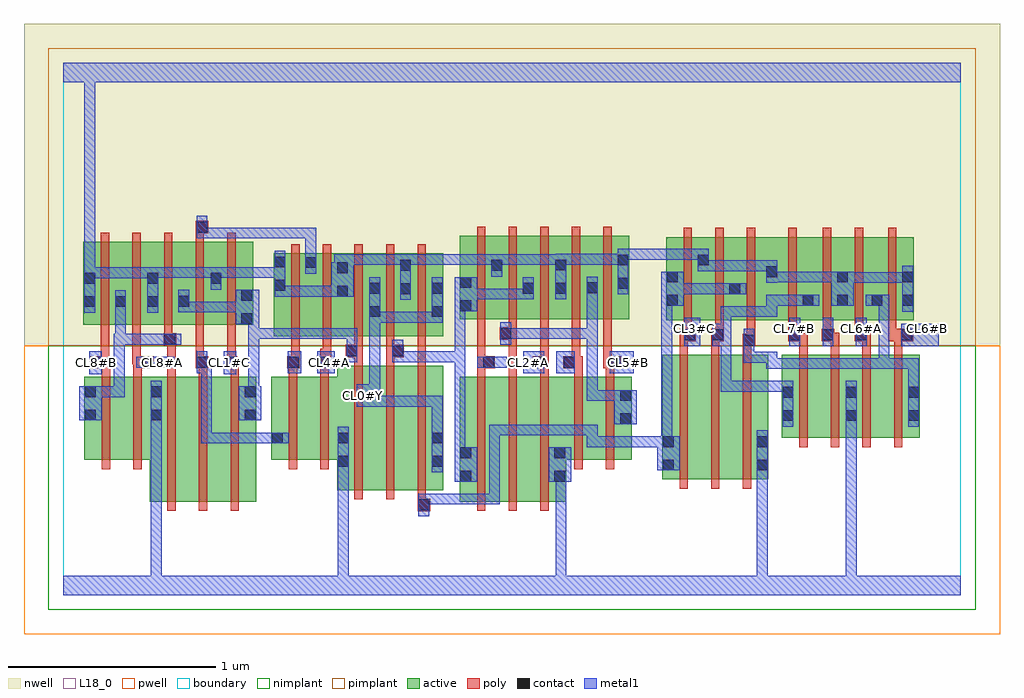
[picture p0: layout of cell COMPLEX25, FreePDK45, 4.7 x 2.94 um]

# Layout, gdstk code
import gdstk
lib = gdstk.Library(unit=1e-6, precision=1e-09)
def R(c, l, rs):  # rectangles x0, y0, x1, y1
    for r in rs: c.add(gdstk.rectangle(r[:2], r[2:], *l))
def A(c, l, x, y, w, h, nx, ny, dx, dy):  # array of equal rectangles
    R(c, l, [(x+i*dx, y+j*dy, x+i*dx+w, y+j*dy+h) for i in range(nx) for j in range(ny)])
active = (1, 0)
pwell = (2, 0)
nwell = (3, 0)
nimplant = (4, 0)
pimplant = (5, 0)
poly = (9, 0)
contact = (10, 0)
metal1 = (11, 0)
L18_0 = (18, 0)
boundary = (235, 0)

complex25 = lib.new_cell('COMPLEX25')
A(complex25, active, 0.098, 1.3, 0.208, 0.4, 3, 1, 0.304, 0)
R(complex25, active, [(0.418,0.45,0.598,1.05), (0.418,0.45,0.478,1.008), (0.598,0.45,0.75,1.05), (0.75,0.45,0.93,1.05), (1.908,0.45,2.088,1.05), (2.088,0.45,2.24,1.05), (2.24,0.45,2.42,1.05), (2.36,0.45,2.42,0.714), (1.318,0.504,1.498,1.104), (1.498,0.504,1.65,1.104), (1.65,0.504,1.83,1.104), (1.77,0.504,1.83,1.104), (1.908,0.514,1.968,1.05), (0.87,0.556,0.93,1.05), (2.882,0.556,2.942,1.156), (2.882,0.556,3.062,1.156), (3.062,0.556,3.214,1.156), (3.214,0.556,3.394,1.156), (3.334,0.556,3.394,1.156), (1.318,0.614,1.378,0.786), (0.102,0.65,0.162,1.05), (0.102,0.65,0.282,1.05), (0.282,0.65,0.478,1.05), (1.002,0.65,1.182,1.05), (1.182,0.65,1.378,1.05), (2.36,0.65,2.556,1.05), (2.556,0.65,2.736,1.05), (2.676,0.65,2.736,1.05), (1.002,0.684,1.062,1.05), (3.458,0.756,3.518,1.156), (3.458,0.756,3.638,1.156), (3.638,0.756,3.822,1.156), (3.762,0.756,3.942,1.156), (3.762,0.756,3.822,1.006), (3.942,0.756,4.122,1.156), (4.062,0.756,4.122,1.156), (1.014,1.244,1.074,1.644), (1.014,1.244,1.222,1.644), (1.162,1.244,1.222,1.644), (1.162,1.244,1.374,1.644), (1.314,1.244,1.374,1.644), (1.314,1.244,1.53,1.644), (1.47,1.244,1.53,1.644), (1.47,1.244,1.678,1.644), (1.618,1.244,1.678,1.644), (1.618,1.244,1.83,1.644), (1.77,1.244,1.83,1.644), (0.098,1.3,0.158,1.7), (0.246,1.3,0.462,1.7), (0.55,1.3,0.766,1.7), (0.854,1.3,0.914,1.644), (2.902,1.322,3.11,1.722), (2.902,1.322,2.962,1.644), (3.05,1.322,3.262,1.722), (3.202,1.322,3.44,1.722), (3.38,1.322,3.614,1.722), (3.554,1.322,3.78,1.722), (3.72,1.322,3.946,1.722), (3.886,1.322,4.094,1.722), (4.034,1.322,4.094,1.722), (1.908,1.328,2.116,1.728), (1.908,1.328,1.968,1.644), (2.056,1.328,2.268,1.728), (2.208,1.328,2.424,1.728), (2.364,1.328,2.424,1.728), (2.364,1.328,2.576,1.728), (2.516,1.328,2.724,1.728), (2.664,1.328,2.724,1.644), (0.402,1.376,0.462,1.7), (0.246,1.382,0.306,1.644), (3.72,1.382,3.78,1.722), (0.55,1.384,0.61,1.644), (3.554,1.388,3.614,1.644), (3.886,1.388,3.946,1.644), (0.706,1.412,0.766,1.644), (3.202,1.444,3.262,1.644), (2.208,1.446,2.268,1.644), (2.516,1.448,2.576,1.644), (3.38,1.45,3.44,1.644), (2.056,1.48,2.116,1.644), (3.05,1.5,3.11,1.644)])
R(complex25, pwell, [(-0.188,-0.188,4.508,1.2)])
R(complex25, nwell, [(-0.188,1.2,4.508,2.748)])
R(complex25, nimplant, [(-0.072,-0.072,4.392,1.2)])
R(complex25, pimplant, [(-0.072,1.2,4.392,2.632)])
A(complex25, poly, 0.502, 0.406, 0.04, 0.688, 3, 1, 0.152, 0)
A(complex25, poly, 1.992, 0.406, 0.04, 0.688, 3, 1, 0.152, 0)
A(complex25, poly, 1.402, 0.46, 0.04, 0.688, 3, 1, 0.152, 0)
A(complex25, poly, 2.966, 0.512, 0.04, 0.688, 3, 1, 0.152, 0)
A(complex25, poly, 3.542, 0.712, 0.04, 0.488, 4, 1, 0.152, 0)
A(complex25, poly, 2.296, 1.11, 0.04, 0.214, 3, 1, 0.152, 0)
A(complex25, poly, 3.542, 1.16, 0.04, 0.102, 4, 1, 0.152, 0)
A(complex25, poly, 1.402, 1.164, 0.04, 0.076, 3, 1, 0.152, 0)
A(complex25, poly, 1.098, 1.2, 0.04, 0.488, 5, 1, 0.152, 0)
A(complex25, poly, 3.49, 1.222, 0.06, 0.06, 3, 1, 0.16, 0)
A(complex25, poly, 3.51, 1.222, 0.04, 0.04, 3, 1, 0.16, 0)
A(complex25, poly, 0.182, 1.256, 0.04, 0.488, 5, 1, 0.152, 0)
A(complex25, poly, 2.986, 1.278, 0.04, 0.488, 3, 1, 0.152, 0)
A(complex25, poly, 1.992, 1.284, 0.04, 0.488, 5, 1, 0.152, 0)
R(complex25, poly, [(1.706,0.404,1.766,0.464), (1.706,0.424,1.746,0.5), (0.186,0.606,0.226,1.094), (0.338,0.606,0.378,1.094), (1.086,0.606,1.126,1.094), (1.238,0.606,1.278,1.094), (2.46,0.606,2.5,1.094), (2.612,0.606,2.652,1.094), (0.186,1.054,0.226,1.13), (0.338,1.054,0.378,1.13), (0.502,1.054,0.542,1.24), (0.654,1.054,0.694,1.13), (0.806,1.054,0.846,1.13), (1.086,1.054,1.126,1.13), (1.238,1.054,1.278,1.13), (1.992,1.054,2.032,1.13), (2.144,1.054,2.184,1.268), (2.296,1.054,2.336,1.13), (2.46,1.054,2.5,1.13), (2.612,1.054,2.652,1.13), (0.13,1.09,0.222,1.15), (0.182,1.09,0.222,1.13), (0.182,1.09,0.226,1.13), (0.338,1.09,0.436,1.15), (0.638,1.09,0.698,1.15), (0.778,1.09,0.838,1.15), (0.798,1.09,0.838,1.13), (0.798,1.09,0.846,1.13), (1.078,1.09,1.138,1.15), (1.218,1.09,1.278,1.15), (1.992,1.09,2.078,1.15), (2.26,1.09,2.336,1.15), (2.406,1.09,2.5,1.15), (2.6,1.09,2.686,1.15), (2.612,1.09,2.652,1.13), (2.612,1.09,2.652,1.13), (1.402,1.108,1.442,1.184), (1.554,1.108,1.594,1.184), (1.706,1.108,1.746,1.204), (0.182,1.11,0.222,1.296), (0.334,1.11,0.374,1.296), (0.334,1.11,0.378,1.15), (0.338,1.11,0.378,1.15), (0.638,1.11,0.678,1.15), (0.638,1.11,0.678,1.15), (0.638,1.11,0.678,1.296), (0.79,1.11,0.83,1.296), (1.098,1.11,1.138,1.15), (1.098,1.11,1.138,1.15), (1.098,1.11,1.138,1.24), (1.238,1.11,1.278,1.184), (1.992,1.11,2.032,1.15), (1.992,1.11,2.032,1.15), (1.992,1.11,2.032,1.324), (2.296,1.11,2.336,1.15), (2.296,1.11,2.336,1.15), (2.448,1.11,2.488,1.15), (2.448,1.11,2.488,1.15), (1.238,1.144,1.29,1.184), (1.25,1.144,1.29,1.24), (1.36,1.144,1.442,1.204), (1.402,1.144,1.442,1.184), (1.402,1.144,1.442,1.184), (1.554,1.144,1.594,1.184), (1.554,1.144,1.594,1.184), (1.554,1.144,1.64,1.204), (2.966,1.16,3.006,1.262), (3.118,1.16,3.158,1.262), (3.27,1.16,3.31,1.236), (1.706,1.164,1.746,1.204), (1.706,1.164,1.746,1.204), (1.706,1.164,1.746,1.204), (3.27,1.196,3.33,1.256), (0.484,1.2,0.544,1.26), (0.502,1.2,0.542,1.24), (0.502,1.2,0.542,1.24), (3.29,1.216,3.33,1.256), (3.29,1.216,3.33,1.256), (3.29,1.216,3.33,1.318), (0.486,1.22,0.526,1.296), (2.966,1.222,3.044,1.282), (3.118,1.222,3.18,1.282), (3.51,1.222,3.582,1.262), (3.67,1.222,3.734,1.262), (3.83,1.222,3.886,1.262), (3.97,1.222,4.09,1.282), (3.998,1.222,4.038,1.262), (3.998,1.222,4.038,1.262), (2.1,1.228,2.184,1.288), (2.144,1.228,2.184,1.268), (2.144,1.228,2.184,1.268), (2.986,1.242,3.026,1.318), (2.986,1.242,3.026,1.282), (2.986,1.242,3.026,1.282), (3.138,1.242,3.178,1.318), (3.138,1.242,3.178,1.282), (3.138,1.242,3.178,1.282), (3.49,1.242,3.53,1.318), (3.656,1.242,3.696,1.318), (3.81,1.242,3.85,1.318), (3.97,1.242,4.01,1.318), (2.144,1.248,2.184,1.324), (3.49,1.278,3.53,1.766), (3.656,1.278,3.696,1.766), (3.81,1.278,3.85,1.766), (3.97,1.278,4.01,1.766), (0.638,1.704,0.678,1.78), (0.638,1.74,0.698,1.8)])
A(complex25, contact, 3.494, 1.226, 0.052, 0.052, 3, 1, 0.16, 0)
A(complex25, contact, 3.558, 1.392, 0.052, 0.052, 3, 1, 0.166, 0)
A(complex25, contact, 0.102, 1.498, 0.052, 0.052, 3, 1, 0.304, 0)
R(complex25, contact, [(1.71,0.408,1.762,0.46), (1.912,0.546,1.964,0.598), (2.364,0.546,2.416,0.598), (2.886,0.6,2.938,0.652), (3.338,0.6,3.39,0.652), (1.322,0.618,1.374,0.67), (1.774,0.618,1.826,0.67), (1.912,0.658,1.964,0.71), (2.364,0.658,2.416,0.71), (2.886,0.712,2.938,0.764), (3.338,0.712,3.39,0.764), (1.006,0.73,1.058,0.782), (1.322,0.73,1.374,0.782), (1.774,0.73,1.826,0.782), (2.68,0.822,2.732,0.874), (3.462,0.838,3.514,0.89), (3.766,0.838,3.818,0.89), (4.066,0.838,4.118,0.89), (0.106,0.84,0.158,0.892), (0.422,0.84,0.474,0.892), (0.874,0.84,0.926,0.892), (2.68,0.934,2.732,0.986), (3.462,0.95,3.514,1.002), (3.766,0.95,3.818,1.002), (4.066,0.95,4.118,1.002), (0.106,0.952,0.158,1.004), (0.422,0.952,0.474,1.004), (0.874,0.952,0.926,1.004), (0.134,1.094,0.186,1.146), (0.38,1.094,0.432,1.146), (0.642,1.094,0.694,1.146), (0.782,1.094,0.834,1.146), (1.082,1.094,1.134,1.146), (1.222,1.094,1.274,1.146), (2.022,1.094,2.074,1.146), (2.264,1.094,2.316,1.146), (2.41,1.094,2.462,1.146), (2.63,1.094,2.682,1.146), (1.364,1.148,1.416,1.2), (1.584,1.148,1.636,1.2), (3.274,1.2,3.326,1.252), (0.488,1.204,0.54,1.256), (2.988,1.226,3.04,1.278), (3.124,1.226,3.176,1.278), (4.034,1.226,4.086,1.278), (2.104,1.232,2.156,1.284), (0.858,1.304,0.91,1.356), (1.474,1.338,1.526,1.39), (1.774,1.338,1.826,1.39), (1.912,1.366,1.964,1.418), (0.102,1.386,0.154,1.438), (0.25,1.386,0.302,1.438), (0.406,1.386,0.458,1.438), (0.554,1.388,0.606,1.44), (2.906,1.392,2.958,1.444), (4.038,1.392,4.09,1.444), (0.858,1.416,0.91,1.468), (1.318,1.436,1.37,1.488), (1.622,1.448,1.674,1.5), (3.206,1.448,3.258,1.5), (1.474,1.45,1.526,1.502), (1.774,1.45,1.826,1.502), (2.212,1.45,2.264,1.502), (2.368,1.45,2.42,1.502), (2.52,1.452,2.572,1.504), (1.018,1.464,1.07,1.516), (2.668,1.474,2.72,1.526), (1.912,1.478,1.964,1.53), (2.906,1.504,2.958,1.556), (3.724,1.504,3.776,1.556), (4.038,1.504,4.09,1.556), (3.384,1.53,3.436,1.582), (1.318,1.548,1.37,1.6), (1.622,1.56,1.674,1.612), (2.06,1.56,2.112,1.612), (2.368,1.562,2.42,1.614), (1.166,1.574,1.218,1.626), (1.018,1.576,1.07,1.628), (2.668,1.586,2.72,1.638), (3.054,1.586,3.106,1.638), (0.642,1.744,0.694,1.796)])
A(complex25, metal1, 3.494, 1.198, 0.052, 0.136, 3, 1, 0.16, 0)
R(complex25, metal1, [(0,0,4.32,0.092), (0.422,0.04,0.474,0.864), (1.322,0.04,1.374,0.092), (1.322,0.04,1.374,0.092), (1.322,0.04,1.374,0.092), (1.322,0.04,1.374,0.092), (1.322,0.04,1.374,0.092), (1.322,0.04,1.374,0.092), (1.322,0.04,1.374,0.092), (1.322,0.04,1.374,0.092), (1.322,0.04,1.374,0.642), (2.37,0.04,2.422,0.598), (3.338,0.04,3.39,0.624), (3.766,0.04,3.818,0.092), (3.766,0.04,3.818,0.092), (3.766,0.04,3.818,0.092), (3.766,0.04,3.818,0.092), (3.766,0.04,3.818,0.862), (1.71,0.38,1.762,0.488), (1.71,0.436,1.826,0.488), (1.774,0.436,1.826,0.488), (1.774,0.436,1.826,0.488), (1.774,0.436,1.826,0.488), (1.774,0.436,1.826,0.488), (1.774,0.436,1.826,0.488), (1.774,0.436,1.936,0.488), (1.884,0.436,1.936,0.488), (1.884,0.436,1.936,0.488), (1.884,0.436,1.936,0.488), (1.884,0.436,1.936,0.488), (1.884,0.436,1.936,0.488), (1.884,0.436,2.102,0.488), (2.05,0.436,2.102,0.488), (2.05,0.436,2.102,0.488), (2.05,0.436,2.102,0.488), (2.05,0.436,2.102,0.488), (2.05,0.436,2.102,0.488), (2.05,0.436,2.102,0.82), (1.884,0.546,1.992,0.71), (2.336,0.546,2.444,0.71), (2.37,0.546,2.422,0.598), (2.37,0.546,2.422,0.598), (2.37,0.546,2.422,0.598), (2.37,0.546,2.422,0.598), (2.37,0.546,2.422,0.598), (2.37,0.546,2.422,0.598), (2.37,0.546,2.422,0.598), (2.37,0.546,2.422,0.598), (3.338,0.572,3.39,0.624), (3.338,0.572,3.39,0.624), (3.338,0.572,3.39,0.624), (3.338,0.572,3.39,0.624), (3.338,0.572,3.39,0.624), (3.338,0.572,3.39,0.624), (3.338,0.572,3.39,0.624), (3.338,0.572,3.39,0.624), (3.338,0.572,3.39,0.792), (1.322,0.59,1.374,0.81), (1.774,0.59,1.826,0.81), (2.858,0.6,2.966,0.764), (1.884,0.658,1.936,1.172), (2.52,0.712,2.572,0.764), (2.52,0.712,2.572,0.764), (2.52,0.712,2.572,0.764), (2.52,0.712,2.572,0.82), (2.52,0.712,2.766,0.764), (2.714,0.712,2.766,0.764), (2.714,0.712,2.91,0.764), (2.878,0.712,2.93,1.444), (0.664,0.73,0.716,0.782), (0.664,0.73,0.716,0.782), (0.664,0.73,0.716,0.782), (0.664,0.73,0.92,0.782), (0.664,0.73,0.716,1.118), (0.868,0.73,0.92,0.782), (0.868,0.73,0.92,0.782), (0.868,0.73,0.92,0.782), (0.868,0.73,1.03,0.782), (0.978,0.73,1.086,0.782), (1.774,0.758,1.826,0.958), (2.05,0.768,2.102,0.82), (2.05,0.768,2.102,0.82), (2.05,0.768,2.102,0.82), (2.05,0.768,2.266,0.82), (2.214,0.768,2.266,0.82), (2.214,0.768,2.266,0.82), (2.214,0.768,2.266,0.82), (2.214,0.768,2.462,0.82), (2.41,0.768,2.462,0.82), (2.41,0.768,2.462,0.82), (2.41,0.768,2.462,0.82), (2.41,0.768,2.572,0.82), (2.52,0.768,2.572,0.82), (3.462,0.81,3.514,1.03), (3.766,0.81,3.818,0.862), (3.766,0.81,3.818,0.862), (3.766,0.81,3.818,0.862), (3.766,0.81,3.818,0.862), (3.766,0.81,3.818,0.862), (3.766,0.81,3.818,0.862), (3.766,0.81,3.818,0.862), (3.766,0.81,3.818,0.862), (3.766,0.81,3.818,1.03), (4.066,0.81,4.118,1.03), (0.422,0.812,0.474,0.864), (0.422,0.812,0.474,0.864), (0.422,0.812,0.474,0.864), (0.422,0.812,0.474,0.864), (0.422,0.812,0.474,0.864), (0.422,0.812,0.474,0.864), (0.422,0.812,0.474,0.864), (0.422,0.812,0.474,0.864), (0.422,0.812,0.474,1.032), (2.652,0.822,2.76,0.986), (0.078,0.84,0.186,1.004), (0.846,0.84,0.954,1.004), (1.414,0.906,1.526,1.014), (1.474,0.906,1.652,0.958), (1.6,0.906,1.652,0.958), (1.6,0.906,1.652,0.958), (1.6,0.906,1.652,0.958), (1.6,0.906,1.826,0.958), (1.774,0.906,1.826,0.958), (1.774,0.906,1.826,0.958), (1.774,0.906,1.826,0.958), (2.52,0.934,2.572,0.986), (2.52,0.934,2.572,0.986), (2.52,0.934,2.572,0.986), (2.52,0.934,2.704,0.986), (2.52,0.934,2.572,1.284), (2.652,0.934,2.704,0.986), (2.652,0.934,2.704,0.986), (0.134,0.952,0.186,1.004), (0.134,0.952,0.186,1.004), (0.134,0.952,0.186,1.004), (0.134,0.952,0.186,1.004), (0.134,0.952,0.296,1.004), (0.244,0.952,0.296,1.004), (0.244,0.952,0.296,1.256), (0.892,0.952,0.944,1.284), (1.474,0.962,1.526,1.362), (3.164,0.978,3.216,1.03), (3.164,0.978,3.326,1.03), (3.164,0.978,3.216,1.306), (3.274,0.978,3.326,1.03), (3.274,0.978,3.326,1.03), (3.274,0.978,3.326,1.03), (3.274,0.978,3.514,1.03), (4.066,0.978,4.118,1.14), (0.126,1.062,0.186,1.174), (0.774,1.062,0.834,1.174), (0.642,1.066,0.694,1.174), (0.642,1.066,0.716,1.118), (0.664,1.066,0.716,1.118), (1.082,1.066,1.146,1.174), (1.222,1.066,1.306,1.174), (2.214,1.066,2.316,1.174), (2.374,1.066,2.462,1.174), (2.63,1.066,2.746,1.174), (3.384,1.088,3.596,1.14), (3.384,1.088,3.436,1.17), (3.544,1.088,3.596,1.14), (3.544,1.088,3.596,1.14), (3.544,1.088,3.596,1.14), (3.544,1.088,3.756,1.14), (3.704,1.088,3.756,1.14), (3.704,1.088,3.756,1.14), (3.704,1.088,3.756,1.14), (3.704,1.088,3.976,1.14), (3.924,1.088,3.976,1.14), (3.924,1.088,3.976,1.14), (3.924,1.088,3.976,1.14), (3.924,1.088,4.118,1.14), (3.924,1.088,3.976,1.444), (4.066,1.088,4.118,1.14), (4.066,1.088,4.118,1.14), (4.066,1.088,4.118,1.14), (0.352,1.094,0.534,1.146), (1.994,1.094,2.134,1.146), (3.274,1.118,3.326,1.224), (3.274,1.118,3.436,1.17), (1.364,1.12,1.416,1.284), (1.584,1.12,1.636,1.172), (1.584,1.12,1.636,1.172), (1.584,1.12,1.636,1.228), (1.584,1.12,1.826,1.172), (1.774,1.12,1.826,1.172), (1.774,1.12,1.826,1.172), (1.774,1.12,1.826,1.172), (1.774,1.12,1.936,1.172), (1.884,1.12,1.936,1.172), (1.884,1.12,1.936,1.172), (1.884,1.12,1.936,1.172), (1.884,1.12,1.936,1.418), (3.274,1.172,3.326,1.224), (3.274,1.172,3.326,1.28), (2.988,1.198,3.066,1.334), (3.124,1.198,3.176,1.306), (4.034,1.198,4.214,1.306), (0.244,1.204,0.302,1.256), (0.25,1.204,0.302,1.256), (0.25,1.204,0.302,1.256), (0.25,1.204,0.458,1.256), (0.25,1.204,0.302,1.41), (0.406,1.204,0.458,1.256), (0.406,1.204,0.512,1.256), (0.46,1.204,0.568,1.256), (2.104,1.204,2.156,1.312), (0.892,1.232,0.944,1.284), (0.892,1.232,0.944,1.284), (0.892,1.232,0.944,1.284), (0.892,1.232,1.084,1.284), (0.892,1.232,0.944,1.356), (1.032,1.232,1.084,1.284), (1.032,1.232,1.084,1.284), (1.032,1.232,1.084,1.284), (1.032,1.232,1.196,1.284), (1.144,1.232,1.196,1.284), (1.144,1.232,1.306,1.284), (1.254,1.232,1.306,1.284), (1.254,1.232,1.306,1.284), (1.254,1.232,1.306,1.284), (1.254,1.232,1.416,1.284), (2.104,1.232,2.278,1.284), (2.226,1.232,2.278,1.284), (2.226,1.232,2.278,1.284), (2.226,1.232,2.278,1.284), (2.226,1.232,2.462,1.284), (2.41,1.232,2.462,1.284), (2.41,1.232,2.462,1.284), (2.41,1.232,2.462,1.284), (2.41,1.232,2.572,1.284), (2.52,1.232,2.572,1.284), (2.52,1.232,2.572,1.476), (3.124,1.254,3.216,1.306), (3.164,1.254,3.216,1.306), (3.164,1.254,3.216,1.39), (0.83,1.304,0.944,1.468), (1.474,1.31,1.526,1.362), (1.474,1.31,1.526,1.362), (1.474,1.31,1.526,1.53), (1.474,1.31,1.636,1.362), (1.584,1.31,1.636,1.362), (1.584,1.31,1.636,1.362), (1.584,1.31,1.636,1.362), (1.584,1.31,1.826,1.362), (1.774,1.31,1.826,1.362), (1.774,1.31,1.826,1.362), (1.774,1.31,1.826,1.53), (3.164,1.338,3.216,1.39), (3.164,1.338,3.326,1.39), (3.274,1.338,3.326,1.39), (3.274,1.338,3.326,1.39), (3.274,1.338,3.326,1.39), (3.274,1.338,3.436,1.39), (3.384,1.338,3.436,1.39), (3.384,1.338,3.436,1.444), (0.102,1.358,0.154,1.578), (0.25,1.358,0.302,1.466), (0.406,1.358,0.458,1.578), (0.554,1.36,0.716,1.412), (0.554,1.36,0.606,1.468), (0.664,1.36,0.716,1.412), (0.664,1.36,0.716,1.412), (0.664,1.36,0.716,1.412), (0.664,1.36,0.882,1.412), (0.83,1.36,0.882,1.412), (0.83,1.36,0.882,1.412), (4.038,1.364,4.09,1.584), (1.884,1.366,1.992,1.53), (2.878,1.392,2.93,1.444), (2.878,1.392,2.93,1.444), (2.878,1.392,2.93,1.444), (2.878,1.392,2.93,1.444), (2.878,1.392,2.93,1.444), (2.878,1.392,2.93,1.444), (2.878,1.392,2.986,1.556), (3.384,1.392,3.436,1.444), (3.384,1.392,3.582,1.444), (3.53,1.392,3.582,1.444), (3.53,1.392,3.582,1.444), (3.53,1.392,3.638,1.444), (3.696,1.392,3.804,1.556), (3.862,1.392,3.976,1.444), (3.924,1.392,3.976,1.444), (3.924,1.392,3.976,1.444), (1.622,1.42,1.674,1.64), (1.94,1.422,1.992,1.474), (1.94,1.422,1.992,1.474), (1.94,1.422,2.154,1.474), (2.102,1.422,2.154,1.474), (2.102,1.422,2.154,1.474), (2.102,1.422,2.154,1.474), (2.102,1.422,2.264,1.474), (2.212,1.422,2.264,1.53), (2.368,1.422,2.42,1.642), (2.52,1.424,2.572,1.532), (1.018,1.436,1.07,1.488), (1.018,1.436,1.07,1.488), (1.018,1.436,1.07,1.488), (1.018,1.436,1.07,1.488), (1.018,1.436,1.07,1.488), (1.018,1.436,1.07,1.488), (1.018,1.436,1.07,1.488), (1.018,1.436,1.07,1.488), (1.018,1.436,1.07,1.656), (1.018,1.436,1.196,1.488), (1.144,1.436,1.196,1.488), (1.144,1.436,1.196,1.488), (1.144,1.436,1.196,1.488), (1.144,1.436,1.342,1.488), (1.29,1.436,1.398,1.6), (2.668,1.446,2.72,1.666), (2.934,1.448,2.986,1.5), (2.934,1.448,2.986,1.5), (2.934,1.448,3.106,1.5), (3.054,1.448,3.106,1.5), (3.054,1.448,3.106,1.5), (3.054,1.448,3.106,1.5), (3.054,1.448,3.23,1.5), (3.178,1.448,3.286,1.5), (0.71,1.47,0.762,1.578), (3.384,1.502,3.436,1.61), (3.752,1.502,3.976,1.554), (3.924,1.502,3.976,1.554), (3.924,1.502,3.976,1.554), (3.924,1.502,3.976,1.554), (3.924,1.502,4.09,1.554), (4.038,1.502,4.09,1.554), (4.038,1.502,4.09,1.554), (3.384,1.504,3.436,1.556), (3.384,1.504,3.436,1.556), (3.384,1.504,3.596,1.556), (3.544,1.504,3.596,1.556), (3.544,1.504,3.596,1.556), (3.544,1.504,3.596,1.556), (3.544,1.504,3.748,1.556), (3.696,1.504,3.748,1.556), (3.696,1.504,3.748,1.556), (0.102,1.524,0.154,1.576), (0.102,1.524,0.154,1.576), (0.102,1.524,0.348,1.576), (0.296,1.524,0.348,1.576), (0.296,1.524,0.348,1.576), (0.296,1.524,0.348,1.576), (0.296,1.524,0.458,1.576), (0.102,1.526,0.154,1.578), (0.102,1.526,0.154,1.578), (0.102,1.526,0.154,1.578), (0.102,1.526,0.154,1.578), (0.102,1.526,0.154,1.578), (0.102,1.526,0.154,1.578), (0.102,1.526,0.154,1.578), (0.102,1.526,0.154,1.578), (0.102,1.526,0.154,1.578), (0.102,1.526,0.154,1.578), (0.102,1.526,0.154,1.578), (0.102,1.526,0.154,1.578), (0.102,1.526,0.154,1.578), (0.102,1.526,0.154,1.578), (0.102,1.526,0.154,2.52), (0.406,1.526,0.458,1.578), (0.406,1.526,0.458,1.578), (0.406,1.526,0.568,1.578), (0.516,1.526,0.568,1.578), (0.516,1.526,0.568,1.578), (0.516,1.526,0.568,1.578), (0.516,1.526,0.762,1.578), (0.71,1.526,0.906,1.578), (0.854,1.526,0.906,1.578), (0.854,1.526,0.906,1.578), (0.854,1.526,0.906,1.578), (0.854,1.526,1.07,1.578), (2.06,1.532,2.112,1.64), (1.166,1.546,1.218,1.654), (1.304,1.548,1.356,1.64), (3.054,1.558,3.106,1.61), (3.054,1.558,3.106,1.61), (3.054,1.558,3.216,1.61), (3.054,1.558,3.106,1.666), (3.164,1.558,3.216,1.61), (3.164,1.558,3.286,1.61), (3.234,1.558,3.286,1.61), (3.234,1.558,3.436,1.61), (1.304,1.588,1.356,1.64), (1.304,1.588,1.526,1.64), (1.474,1.588,1.526,1.64), (1.474,1.588,1.526,1.64), (1.474,1.588,1.526,1.64), (1.474,1.588,1.636,1.64), (1.584,1.588,1.636,1.64), (1.584,1.588,1.674,1.64), (1.622,1.588,1.826,1.64), (1.774,1.588,1.826,1.64), (1.774,1.588,1.826,1.64), (1.774,1.588,1.826,1.64), (1.774,1.588,1.936,1.64), (1.884,1.588,1.936,1.64), (1.884,1.588,1.936,1.64), (1.884,1.588,1.936,1.64), (1.884,1.588,2.112,1.64), (2.06,1.588,2.112,1.64), (2.06,1.588,2.112,1.64), (2.06,1.588,2.278,1.64), (2.226,1.588,2.278,1.64), (2.226,1.588,2.278,1.64), (2.226,1.588,2.278,1.64), (2.226,1.588,2.42,1.64), (2.368,1.59,2.42,1.642), (2.368,1.59,2.42,1.642), (2.368,1.59,2.594,1.642), (2.542,1.59,2.594,1.642), (2.542,1.59,2.72,1.642), (2.668,1.59,2.72,1.642), (2.668,1.59,2.72,1.642), (1.166,1.602,1.218,1.768), (2.668,1.614,2.876,1.666), (2.824,1.614,2.876,1.666), (2.824,1.614,2.876,1.666), (2.824,1.614,2.876,1.666), (2.824,1.614,3.106,1.666), (0.642,1.716,0.694,1.824), (0.642,1.716,0.716,1.768), (0.664,1.716,0.716,1.768), (0.664,1.716,0.92,1.768), (0.868,1.716,0.92,1.768), (0.868,1.716,0.92,1.768), (0.868,1.716,0.92,1.768), (0.868,1.716,1.054,1.768), (1.002,1.716,1.054,1.768), (1.002,1.716,1.054,1.768), (1.002,1.716,1.054,1.768), (1.002,1.716,1.218,1.768), (1.166,1.716,1.218,1.768), (0,2.468,4.32,2.56), (0.102,2.468,0.154,2.52), (0.102,2.468,0.154,2.52)])
A(complex25, L18_0, 0.134, 1.094, 0.052, 0.052, 4, 1, 0.32, 0)
A(complex25, L18_0, 2.054, 1.094, 0.052, 0.052, 3, 1, 0.16, 0)
A(complex25, L18_0, 3.494, 1.198, 0.052, 0.136, 3, 1, 0.16, 0)
A(complex25, L18_0, 3.494, 1.254, 0.052, 0.052, 3, 1, 0.16, 0)
R(complex25, L18_0, [(0,0,4.32,0.092), (0.422,0.04,0.474,0.864), (1.322,0.04,1.374,0.092), (1.322,0.04,1.374,0.092), (1.322,0.04,1.374,0.092), (1.322,0.04,1.374,0.092), (1.322,0.04,1.374,0.092), (1.322,0.04,1.374,0.092), (1.322,0.04,1.374,0.092), (1.322,0.04,1.374,0.092), (1.322,0.04,1.374,0.642), (2.37,0.04,2.422,0.598), (3.338,0.04,3.39,0.624), (3.766,0.04,3.818,0.092), (3.766,0.04,3.818,0.092), (3.766,0.04,3.818,0.092), (3.766,0.04,3.818,0.092), (3.766,0.04,3.818,0.862), (2.336,0.546,2.444,0.71), (2.37,0.546,2.422,0.598), (2.37,0.546,2.422,0.598), (2.37,0.546,2.422,0.598), (2.37,0.546,2.422,0.598), (2.37,0.546,2.422,0.598), (2.37,0.546,2.422,0.598), (2.37,0.546,2.422,0.598), (2.37,0.546,2.422,0.598), (3.338,0.572,3.39,0.792), (3.338,0.572,3.39,0.624), (3.338,0.572,3.39,0.624), (3.338,0.572,3.39,0.624), (3.338,0.572,3.39,0.624), (3.338,0.572,3.39,0.624), (3.338,0.572,3.39,0.624), (3.338,0.572,3.39,0.624), (3.338,0.572,3.39,0.624), (1.322,0.59,1.374,0.81), (1.774,0.59,1.826,0.81), (1.774,0.758,1.826,0.958), (3.766,0.81,3.818,1.03), (3.766,0.81,3.818,0.862), (3.766,0.81,3.818,0.862), (3.766,0.81,3.818,0.862), (3.766,0.81,3.818,0.862), (3.766,0.81,3.818,0.862), (3.766,0.81,3.818,0.862), (3.766,0.81,3.818,0.862), (3.766,0.81,3.818,0.862), (0.422,0.812,0.474,1.032), (0.422,0.812,0.474,0.864), (0.422,0.812,0.474,0.864), (0.422,0.812,0.474,0.864), (0.422,0.812,0.474,0.864), (0.422,0.812,0.474,0.864), (0.422,0.812,0.474,0.864), (0.422,0.812,0.474,0.864), (0.422,0.812,0.474,0.864), (1.414,0.906,1.526,1.014), (1.474,0.906,1.652,0.958), (1.6,0.906,1.652,0.958), (1.6,0.906,1.652,0.958), (1.6,0.906,1.652,0.958), (1.6,0.906,1.826,0.958), (1.774,0.906,1.826,0.958), (1.774,0.906,1.826,0.958), (1.774,0.906,1.826,0.958), (1.414,0.934,1.466,0.986), (1.474,0.962,1.526,1.362), (0.126,1.062,0.186,1.174), (0.774,1.062,0.834,1.174), (1.082,1.066,1.146,1.174), (1.222,1.066,1.306,1.174), (2.214,1.066,2.316,1.174), (2.374,1.066,2.462,1.174), (2.63,1.066,2.746,1.174), (0.352,1.094,0.534,1.146), (1.254,1.094,1.306,1.146), (1.994,1.094,2.134,1.146), (2.694,1.094,2.746,1.146), (2.988,1.198,3.066,1.334), (4.034,1.198,4.214,1.306), (3.014,1.254,3.066,1.306), (4.134,1.254,4.186,1.306), (1.474,1.31,1.526,1.53), (1.474,1.31,1.526,1.362), (1.474,1.31,1.526,1.362), (1.474,1.31,1.636,1.362), (1.584,1.31,1.636,1.362), (1.584,1.31,1.636,1.362), (1.584,1.31,1.636,1.362), (1.584,1.31,1.826,1.362), (1.774,1.31,1.826,1.53), (1.774,1.31,1.826,1.362), (1.774,1.31,1.826,1.362), (0.102,1.358,0.154,1.578), (0.406,1.358,0.458,1.578), (4.038,1.364,4.09,1.584), (3.696,1.392,3.804,1.556), (1.622,1.42,1.674,1.64), (2.368,1.422,2.42,1.642), (1.018,1.436,1.07,1.656), (1.018,1.436,1.07,1.488), (1.018,1.436,1.07,1.488), (1.018,1.436,1.07,1.488), (1.018,1.436,1.07,1.488), (1.018,1.436,1.07,1.488), (1.018,1.436,1.07,1.488), (1.018,1.436,1.07,1.488), (1.018,1.436,1.07,1.488), (1.018,1.436,1.196,1.488), (1.144,1.436,1.196,1.488), (1.144,1.436,1.196,1.488), (1.144,1.436,1.196,1.488), (1.144,1.436,1.342,1.488), (1.29,1.436,1.398,1.6), (2.668,1.446,2.72,1.666), (0.71,1.47,0.762,1.578), (3.384,1.502,3.436,1.61), (3.752,1.502,3.976,1.554), (3.924,1.502,3.976,1.554), (3.924,1.502,3.976,1.554), (3.924,1.502,3.976,1.554), (3.924,1.502,4.09,1.554), (4.038,1.502,4.09,1.554), (4.038,1.502,4.09,1.554), (3.384,1.504,3.436,1.556), (3.384,1.504,3.436,1.556), (3.384,1.504,3.596,1.556), (3.544,1.504,3.596,1.556), (3.544,1.504,3.596,1.556), (3.544,1.504,3.596,1.556), (3.544,1.504,3.748,1.556), (3.696,1.504,3.748,1.556), (3.696,1.504,3.748,1.556), (0.102,1.524,0.154,1.576), (0.102,1.524,0.154,1.576), (0.102,1.524,0.348,1.576), (0.296,1.524,0.348,1.576), (0.296,1.524,0.348,1.576), (0.296,1.524,0.348,1.576), (0.296,1.524,0.458,1.576), (0.102,1.526,0.154,1.578), (0.102,1.526,0.154,1.578), (0.102,1.526,0.154,1.578), (0.102,1.526,0.154,1.578), (0.102,1.526,0.154,1.578), (0.102,1.526,0.154,1.578), (0.102,1.526,0.154,1.578), (0.102,1.526,0.154,1.578), (0.102,1.526,0.154,1.578), (0.102,1.526,0.154,1.578), (0.102,1.526,0.154,1.578), (0.102,1.526,0.154,1.578), (0.102,1.526,0.154,1.578), (0.102,1.526,0.154,1.578), (0.102,1.526,0.154,2.52), (0.406,1.526,0.458,1.578), (0.406,1.526,0.458,1.578), (0.406,1.526,0.568,1.578), (0.516,1.526,0.568,1.578), (0.516,1.526,0.568,1.578), (0.516,1.526,0.568,1.578), (0.516,1.526,0.762,1.578), (0.71,1.526,0.906,1.578), (0.854,1.526,0.906,1.578), (0.854,1.526,0.906,1.578), (0.854,1.526,0.906,1.578), (0.854,1.526,1.07,1.578), (2.06,1.532,2.112,1.64), (1.304,1.548,1.356,1.64), (3.054,1.558,3.106,1.61), (3.054,1.558,3.106,1.61), (3.054,1.558,3.216,1.61), (3.054,1.558,3.106,1.666), (3.164,1.558,3.216,1.61), (3.164,1.558,3.286,1.61), (3.234,1.558,3.286,1.61), (3.234,1.558,3.436,1.61), (1.304,1.588,1.356,1.64), (1.304,1.588,1.526,1.64), (1.474,1.588,1.526,1.64), (1.474,1.588,1.526,1.64), (1.474,1.588,1.526,1.64), (1.474,1.588,1.636,1.64), (1.584,1.588,1.636,1.64), (1.584,1.588,1.674,1.64), (1.622,1.588,1.826,1.64), (1.774,1.588,1.826,1.64), (1.774,1.588,1.826,1.64), (1.774,1.588,1.826,1.64), (1.774,1.588,1.936,1.64), (1.884,1.588,1.936,1.64), (1.884,1.588,1.936,1.64), (1.884,1.588,1.936,1.64), (1.884,1.588,2.112,1.64), (2.06,1.588,2.112,1.64), (2.06,1.588,2.112,1.64), (2.06,1.588,2.278,1.64), (2.226,1.588,2.278,1.64), (2.226,1.588,2.278,1.64), (2.226,1.588,2.278,1.64), (2.226,1.588,2.42,1.64), (2.368,1.59,2.42,1.642), (2.368,1.59,2.42,1.642), (2.368,1.59,2.594,1.642), (2.542,1.59,2.594,1.642), (2.542,1.59,2.72,1.642), (2.668,1.59,2.72,1.642), (2.668,1.59,2.72,1.642), (2.668,1.614,2.876,1.666), (2.824,1.614,2.876,1.666), (2.824,1.614,2.876,1.666), (2.824,1.614,2.876,1.666), (2.824,1.614,3.106,1.666), (0,2.468,4.32,2.56), (0.102,2.468,0.154,2.52), (0.102,2.468,0.154,2.52)])
R(complex25, boundary, [(0,0,4.32,2.56)])
complex25.add(gdstk.Label('CL0#Y', (1.44,0.96), layer=11, texttype=0))
complex25.add(gdstk.Label('CL1#C', (0.8,1.12), layer=11, texttype=0))
complex25.add(gdstk.Label('CL2#A', (2.24,1.12), layer=11, texttype=0))
complex25.add(gdstk.Label('CL2#C', (2.08,1.12), layer=11, texttype=0))
complex25.add(gdstk.Label('CL3#C', (3.04,1.28), layer=11, texttype=0))
complex25.add(gdstk.Label('CL4#A', (1.28,1.12), layer=11, texttype=0))
complex25.add(gdstk.Label('CL4#B', (1.12,1.12), layer=11, texttype=0))
complex25.add(gdstk.Label('CL5#A', (2.4,1.12), layer=11, texttype=0))
complex25.add(gdstk.Label('CL5#B', (2.72,1.12), layer=11, texttype=0))
complex25.add(gdstk.Label('CL6#A', (3.84,1.28), layer=11, texttype=0))
complex25.add(gdstk.Label('CL6#B', (4.16,1.28), layer=11, texttype=0))
complex25.add(gdstk.Label('CL7#A', (3.68,1.28), layer=11, texttype=0))
complex25.add(gdstk.Label('CL7#B', (3.52,1.28), layer=11, texttype=0))
complex25.add(gdstk.Label('CL8#A', (0.48,1.12), layer=11, texttype=0))
complex25.add(gdstk.Label('CL8#B', (0.16,1.12), layer=11, texttype=0))

lib.write_gds('COMPLEX25.gds')
